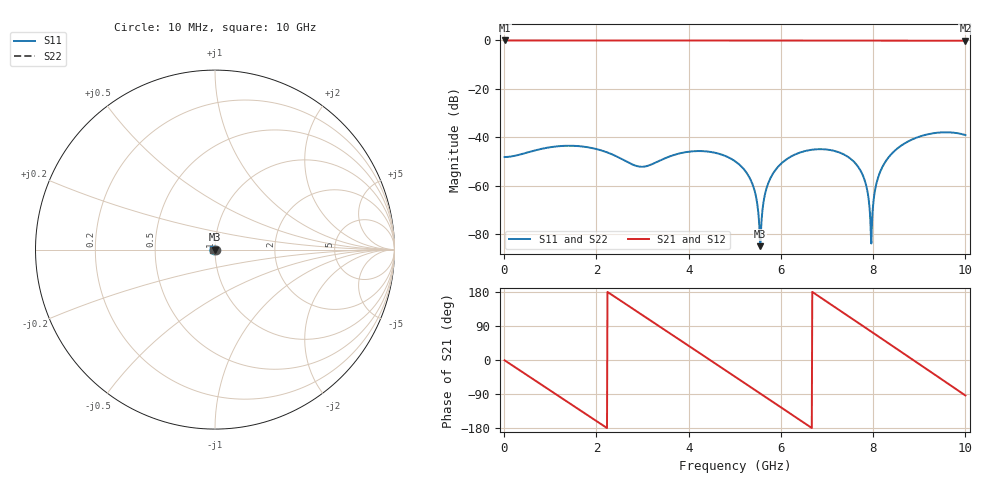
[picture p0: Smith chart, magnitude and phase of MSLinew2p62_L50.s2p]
! TOUCHSTONE file generated by CST MICROWAVE STUDIO
! Date and time: Mon Feb 10 02:50:38 2025
! Project name: MSLine.cst
! Parameters = {Lamb=0.05; C=0; L=50; Li=0; R=1e-13; W=20; dlump=2; er=2; h=0.8; w1=2.62}
! Header version: 2024
! Port assignment regex: !\s*Touchstone port\s*([0-9]+)\s*=\s*(CST MWS port|CST DES external port|CST DES block port)\s*(.+)\s* \(\"(.*)\"\)(\s*mode\s*([0-9]+))?.*
! Touchstone port assignment:
! Touchstone port 1 = CST MWS port 1 ("")
! Touchstone port 2 = CST MWS port 2 ("")
# GHz S MA R 50
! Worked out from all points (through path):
!   1000 points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, 10 MHz to 10 GHz, reference 50 ohm
!   highest |S21| = 0.00 dB at 10 MHz (marker M1); lowest = -0.1 dB at 10 GHz (marker M2)
!   group delay of S21, straight-line fit = 226 ps
!   lowest |S11| = -85.1 dB at 5.55 GHz (marker M3), VSWR 1.00, Z = 50 + j0.00236 ohm
!   |S11| at or under -10 dB: start of sweep to end of sweep
!   |S22| runs from -85.1 to -38.0 dB; largest |S21 - S12| = 1.7e-06
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0.01  0.003889 -179.6  1 -0.8  1 -0.8  0.003889 -2.0
0.91  0.005995 -172.7  0.9999 -73.2  0.9999 -73.2  0.005995 -153.7
1.68  0.006444 162.4  0.9997 -135.2  0.9997 -135.2  0.006444 107.2
2.45  0.003951 143.1  0.9995 162.7  0.9995 162.7  0.003951 2.3
3.34  0.00316 -170.9  0.999 90.9  0.999 90.9  0.00316 172.6
3.76  0.004507 -174.4  0.9987 56.9  0.9987 56.9  0.004507 108.3
4.24  0.005164 166.9  0.9984 18.1  0.9984 18.1  0.005164 49.2
5.01  0.003163 127.2  0.9977 -44.3  0.9977 -44.3  0.003163 -35.9
5.36  0.001215 106.1  0.9973 -72.8  0.9973 -72.8  0.001215 -71.7
5.55  5.576e-05 25.0  0.9971 -88.2  0.9971 -88.2  5.576e-05 -21.5
5.69  0.0008868 -86.8  0.997 -99.6  0.997 -99.6  0.0008868 67.6
5.87  0.002025 -99.3  0.9967 -114.3  0.9967 -114.3  0.002025 50.7
6.67  0.005495 -148.2  0.9956 -179.5  0.9956 -179.5  0.005495 -30.8
7.1  0.005359 -174.8  0.9949 145.4  0.9949 145.4  0.005359 -74.5
7.61  0.002915 152.5  0.994 103.6  0.994 103.6  0.002915 -125.4
7.82  0.001256 137.6  0.9935 86.3  0.9935 86.3  0.001256 -144.9
7.96  6.345e-05 25.7  0.9932 74.8  0.9932 74.8  6.345e-05 -56.0
8.11  0.001492 -56.0  0.9928 62.5  0.9928 62.5  0.001492 1.0
8.34  0.003887 -72.4  0.9923 43.6  0.9923 43.6  0.003887 -20.4
9.09  0.01089 -123.0  0.99 -18.3  0.99 -18.3  0.01089 -93.5
9.58  0.01262 -157.2  0.9881 -58.8  0.9881 -58.8  0.01262 -140.3
10  0.01108 171.7  0.9863 -93.6  0.9863 -93.6  0.01108 -179.0
